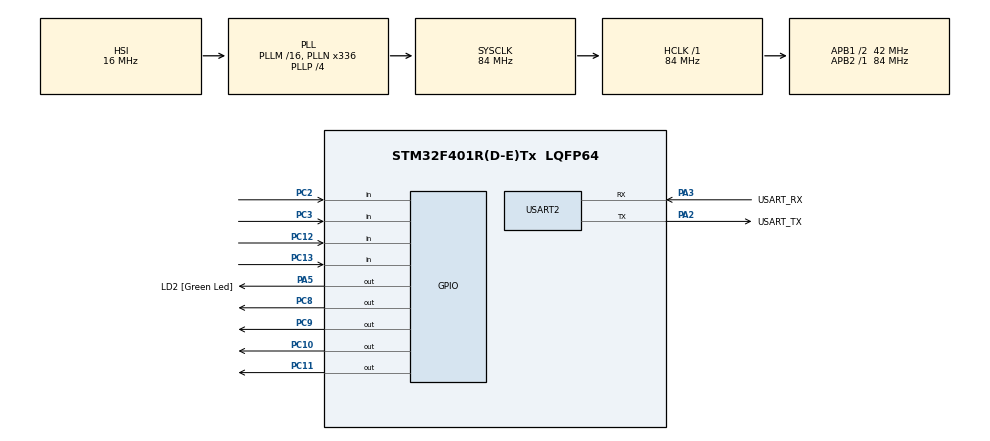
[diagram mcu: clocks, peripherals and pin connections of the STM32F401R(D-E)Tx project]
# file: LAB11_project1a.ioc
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Mcu.Family=STM32F4
Mcu.Name=STM32F401R(D-E)Tx
Mcu.Package=LQFP64
NVIC.PriorityGroup=NVIC_PRIORITYGROUP_0
PA13.GPIO_Label=TMS
PA13.Mode=Serial_Wire
PA13.Signal=SYS_JTMS-SWDIO
PA14.GPIO_Label=TCK
PA14.Mode=Serial_Wire
PA14.Signal=SYS_JTCK-SWCLK
PA2.GPIO_Label=USART_TX
PA2.GPIO_Mode=GPIO_MODE_AF_PP
PA2.GPIO_PuPd=GPIO_NOPULL
PA2.GPIO_Speed=GPIO_SPEED_FREQ_LOW
PA2.Mode=Asynchronous
PA2.Signal=USART2_TX
PA3.GPIO_Label=USART_RX
PA3.GPIO_Mode=GPIO_MODE_AF_PP
PA3.GPIO_PuPd=GPIO_NOPULL
PA3.GPIO_Speed=GPIO_SPEED_FREQ_LOW
PA3.Mode=Asynchronous
PA3.Signal=USART2_RX
PA5.GPIO_Label=LD2 [Green Led]
PA5.GPIO_Mode=GPIO_MODE_OUTPUT_PP
PA5.GPIO_PuPd=GPIO_NOPULL
PA5.GPIO_Speed=GPIO_SPEED_FREQ_LOW
PA5.Signal=GPIO_Output
PB3.GPIO_Label=SWO
PB3.Signal=SYS_JTDO-SWO
PC10.Signal=GPIO_Output
PC11.Signal=GPIO_Output
PC12.Signal=GPIO_Input
PC13-ANTI_TAMP.Signal=GPIO_Input
PC14-OSC32_IN.Mode=LSE-External-Oscillator
PC14-OSC32_IN.Signal=RCC_OSC32_IN
PC15-OSC32_OUT.Mode=LSE-External-Oscillator
PC15-OSC32_OUT.Signal=RCC_OSC32_OUT
PC2.Signal=GPIO_Input
PC3.Signal=GPIO_Input
PC8.Signal=GPIO_Output
PC9.Signal=GPIO_Output
PH0\ -\ OSC_IN.Mode=HSE-External-Clock-Source
PH0\ -\ OSC_IN.Signal=RCC_OSC_IN
PH1\ -\ OSC_OUT.Mode=HSE-External-Clock-Source
PH1\ -\ OSC_OUT.Signal=RCC_OSC_OUT
ProjectManager.HeapSize=0x200
ProjectManager.StackSize=0x400
ProjectManager.TargetToolchain=STM32CubeIDE
RCC.48MHZClocksFreq_Value=48000000
RCC.AHBFreq_Value=84000000
RCC.APB1CLKDivider=RCC_HCLK_DIV2
RCC.APB1Freq_Value=42000000
RCC.APB1TimFreq_Value=84000000
RCC.APB2Freq_Value=84000000
RCC.APB2TimFreq_Value=84000000
RCC.CortexFreq_Value=84000000
RCC.HCLKFreq_Value=84000000
RCC.HSE_VALUE=8000000
RCC.HSI_VALUE=16000000
RCC.PLLN=336
RCC.PLLP=RCC_PLLP_DIV4
RCC.PLLQ=7
RCC.SYSCLKFreq_VALUE=84000000
RCC.SYSCLKSource=RCC_SYSCLKSOURCE_PLLCLK
RCC.VCOOutputFreq_Value=336000000
USART2.VirtualMode=VM_ASYNC
board=NUCLEO-F401RE

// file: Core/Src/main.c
/* USER CODE BEGIN Header */
/**
  ******************************************************************************
  * @file           : main.c
  * @brief          : Main program body
  ******************************************************************************
  * @attention
  *
  * Copyright (c) 2023 STMicroelectronics.
  * All rights reserved.
  *
  * This software is licensed under terms that can be found in the LICENSE file
  * in the root directory of this software component.
  * If no LICENSE file comes with this software, it is provided AS-IS.
  *
  ******************************************************************************
  */
/* USER CODE END Header */
#include "main.h"

/* USER CODE BEGIN Includes */
#include "stdio.h"
#include "string.h"
/* USER CODE END Includes */

/* USER CODE BEGIN PD */
#define ROW3 GPIO_PIN_3
#define ROW2 GPIO_PIN_2
#define ROW1 GPIO_PIN_13
#define ROW0 GPIO_PIN_12

#define COL3 GPIO_PIN_11
#define COL2 GPIO_PIN_10
#define COL1 GPIO_PIN_9
#define COL0 GPIO_PIN_8

/* USER CODE END PD */

UART_HandleTypeDef huart2;

void SystemClock_Config(void);
static void MX_GPIO_Init(void);
static void MX_USART2_UART_Init(void);

/* USER CODE BEGIN 0 */
uint16_t column_shift[4]={
		COL0,
		COL1,
		COL2,
		COL3
};
uint16_t row_shift[4]={
		ROW0,
		ROW1,
		ROW2,
		ROW3
};

char matrix_button[4][4]= {
		{'0','1','2','3'},
		{'4','5','6','7'},
		{'8','9','A','B'},
		{'C','D','E','F'},
};

int flag_matrix[4][4]= {
		{0,0,0,0},
		{0,0,0,0},
		{0,0,0,0},
		{0,0,0,0},
};

int tempo_riga[4][4]= {
		{0,0,0,0},
		{0,0,0,0},
		{0,0,0,0},
		{0,0,0,0},
};
int print[4][4]= {
		{0,0,0,0},
		{0,0,0,0},
		{0,0,0,0},
		{0,0,0,0},
};
char string[64];
int flag=0;

/* USER CODE END 0 */

int main(void)
{

  /* MCU Configuration--------------------------------------------------------*/

  /* Reset of all peripherals, Initializes the Flash interface and the Systick. */
  HAL_Init();

  /* Configure the system clock */
  SystemClock_Config();

  /* Initialize all configured peripherals */
  MX_GPIO_Init();
  MX_USART2_UART_Init();

  /* Infinite loop */
  /* USER CODE BEGIN WHILE */
  while (1)
  {
	  //select the column
	  for(int i=0; i<4;i++){
		  HAL_GPIO_WritePin(GPIOC,column_shift[i], GPIO_PIN_SET);
		  HAL_Delay(5);
		  // read 4 rows
		  for(int j=0; j<4; j++){
			  //debouncing: wait for 5 cycle of pressed button before printing

			  if(HAL_GPIO_ReadPin(GPIOC, row_shift[j])==GPIO_PIN_RESET){
				  tempo_riga[j][i]++;
				  if(tempo_riga[j][i]==3){
					  print[j][i]=1;
				  }
			  }
			  else if(HAL_GPIO_ReadPin(GPIOC, row_shift[j])==GPIO_PIN_SET){
				  tempo_riga[j][i]=0; //exit the while loop
				  flag_matrix[j][i]=0; //stop pressing the button before 5 cycle
				  // the character will not be printed in this iteration but it can in the next one
			  }

			  //finish check the row j
			  //Print if 5 cycles done
			  if(print[j][i]==1 && flag_matrix[j][i]==0){
				  int length=snprintf(string,sizeof(string),"%c\r\n",matrix_button[j][i]);
				  HAL_UART_Transmit(&huart2, string,length,100);
				  print[j][i]=0;
				  flag_matrix[j][i]=1; //ho stampato, se alla prossima iterazione sto ancora premendo non devo ristampare

			  }

		  }

		  HAL_GPIO_WritePin(GPIOC,column_shift[i], GPIO_PIN_RESET);
		  HAL_Delay(5);
	  	  }
  	  }

    /* USER CODE END WHILE */

}

void SystemClock_Config(void)
{
  RCC_OscInitTypeDef RCC_OscInitStruct = {0};
  RCC_ClkInitTypeDef RCC_ClkInitStruct = {0};

  /** Configure the main internal regulator output voltage
  */
  __HAL_RCC_PWR_CLK_ENABLE();
  __HAL_PWR_VOLTAGESCALING_CONFIG(PWR_REGULATOR_VOLTAGE_SCALE2);

  /** Initializes the RCC Oscillators according to the specified parameters
  * in the RCC_OscInitTypeDef structure.
  */
  RCC_OscInitStruct.OscillatorType = RCC_OSCILLATORTYPE_HSI;
  RCC_OscInitStruct.HSIState = RCC_HSI_ON;
  RCC_OscInitStruct.HSICalibrationValue = RCC_HSICALIBRATION_DEFAULT;
  RCC_OscInitStruct.PLL.PLLState = RCC_PLL_ON;
  RCC_OscInitStruct.PLL.PLLSource = RCC_PLLSOURCE_HSI;
  RCC_OscInitStruct.PLL.PLLM = 16;
  RCC_OscInitStruct.PLL.PLLN = 336;
  RCC_OscInitStruct.PLL.PLLP = RCC_PLLP_DIV4;
  RCC_OscInitStruct.PLL.PLLQ = 7;
  if (HAL_RCC_OscConfig(&RCC_OscInitStruct) != HAL_OK)
  {
    Error_Handler();
  }

  /** Initializes the CPU, AHB and APB buses clocks
  */
  RCC_ClkInitStruct.ClockType = RCC_CLOCKTYPE_HCLK|RCC_CLOCKTYPE_SYSCLK
                              |RCC_CLOCKTYPE_PCLK1|RCC_CLOCKTYPE_PCLK2;
  RCC_ClkInitStruct.SYSCLKSource = RCC_SYSCLKSOURCE_PLLCLK;
  RCC_ClkInitStruct.AHBCLKDivider = RCC_SYSCLK_DIV1;
  RCC_ClkInitStruct.APB1CLKDivider = RCC_HCLK_DIV2;
  RCC_ClkInitStruct.APB2CLKDivider = RCC_HCLK_DIV1;

  if (HAL_RCC_ClockConfig(&RCC_ClkInitStruct, FLASH_LATENCY_2) != HAL_OK)
  {
    Error_Handler();
  }
}

static void MX_USART2_UART_Init(void)
{

  huart2.Instance = USART2;
  huart2.Init.BaudRate = 115200;
  huart2.Init.WordLength = UART_WORDLENGTH_8B;
  huart2.Init.StopBits = UART_STOPBITS_1;
  huart2.Init.Parity = UART_PARITY_NONE;
  huart2.Init.Mode = UART_MODE_TX_RX;
  huart2.Init.HwFlowCtl = UART_HWCONTROL_NONE;
  huart2.Init.OverSampling = UART_OVERSAMPLING_16;
  if (HAL_UART_Init(&huart2) != HAL_OK)
  {
    Error_Handler();
  }

}

static void MX_GPIO_Init(void)
{
  GPIO_InitTypeDef GPIO_InitStruct = {0};

  /* GPIO Ports Clock Enable */
  __HAL_RCC_GPIOC_CLK_ENABLE();
  __HAL_RCC_GPIOH_CLK_ENABLE();
  __HAL_RCC_GPIOA_CLK_ENABLE();
  __HAL_RCC_GPIOB_CLK_ENABLE();

  /*Configure GPIO pin Output Level */
  HAL_GPIO_WritePin(LD2_GPIO_Port, LD2_Pin, GPIO_PIN_RESET);

  /*Configure GPIO pin Output Level */
  HAL_GPIO_WritePin(GPIOC, GPIO_PIN_8|GPIO_PIN_9|GPIO_PIN_10|GPIO_PIN_11, GPIO_PIN_RESET);

  /*Configure GPIO pins : PC13 PC2 PC3 PC12 */
  GPIO_InitStruct.Pin = GPIO_PIN_13|GPIO_PIN_2|GPIO_PIN_3|GPIO_PIN_12;
  GPIO_InitStruct.Mode = GPIO_MODE_INPUT;
  GPIO_InitStruct.Pull = GPIO_NOPULL;
  HAL_GPIO_Init(GPIOC, &GPIO_InitStruct);

  /*Configure GPIO pin : LD2_Pin */
  GPIO_InitStruct.Pin = LD2_Pin;
  GPIO_InitStruct.Mode = GPIO_MODE_OUTPUT_PP;
  GPIO_InitStruct.Pull = GPIO_NOPULL;
  GPIO_InitStruct.Speed = GPIO_SPEED_FREQ_LOW;
  HAL_GPIO_Init(LD2_GPIO_Port, &GPIO_InitStruct);

  /*Configure GPIO pins : PC8 PC9 PC10 PC11 */
  GPIO_InitStruct.Pin = GPIO_PIN_8|GPIO_PIN_9|GPIO_PIN_10|GPIO_PIN_11;
  GPIO_InitStruct.Mode = GPIO_MODE_OUTPUT_PP;
  GPIO_InitStruct.Pull = GPIO_NOPULL;
  GPIO_InitStruct.Speed = GPIO_SPEED_FREQ_LOW;
  HAL_GPIO_Init(GPIOC, &GPIO_InitStruct);

}

void Error_Handler(void)
{
  __disable_irq();
  while (1)
  {
  }
}
